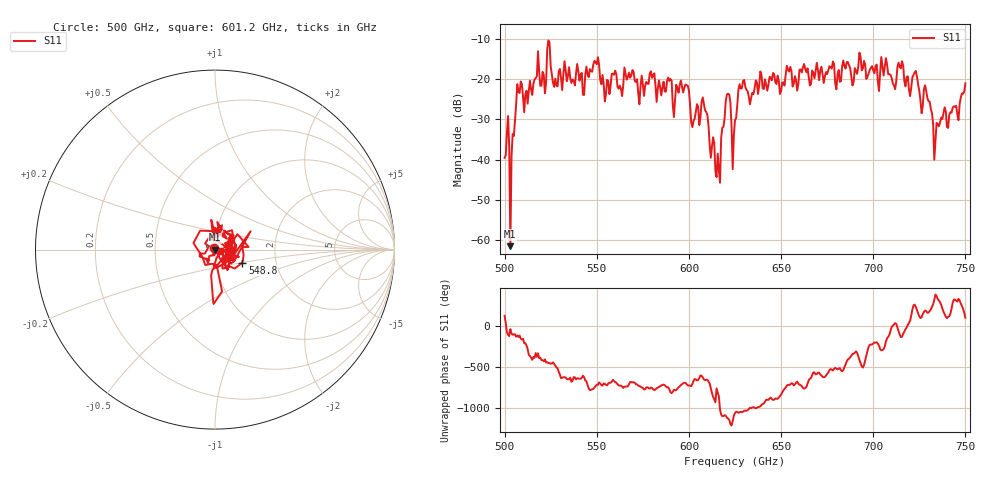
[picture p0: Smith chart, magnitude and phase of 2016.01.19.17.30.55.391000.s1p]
!Created with skrf (http://scikit-rf.org).
# GHz S RI R 50.0
!freq ReS11 ImS11
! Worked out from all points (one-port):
!   401 points, 500 GHz to 750 GHz, reference 50 ohm
!   lowest |S11| = -61.5 dB at 503.1 GHz (marker M1), VSWR 1.00, Z = 50.1 - j0.0555 ohm
!   |S11| at or under -10 dB: start of sweep to end of sweep
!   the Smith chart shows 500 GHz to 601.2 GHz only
!   S11 on the Smith chart (normalised r, x): 500 GHz: 0.99, +0.02; 548.8 GHz: 1.34, -0.20; 601.2 GHz: 1.06, -0.01
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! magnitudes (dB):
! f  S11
! 500 GHz  -39.5
! 503.1 GHz  -61.5
! 504.4 GHz  -33.6
! 505.6 GHz  -30.4
! 508.1 GHz  -23.4
! 521.2 GHz  -19.0
! 524.4 GHz  -10.8
! 527.5 GHz  -19.9
! 531.2 GHz  -22.7
! 548.8 GHz  -15.4
! 562.5 GHz  -21.6
! 568.8 GHz  -19.0
! 593.8 GHz  -22.2
! 598.8 GHz  -21.5
! 601.2 GHz  -30.8
! 608.1 GHz  -26.1
! 615.6 GHz  -38.5
! 621.2 GHz  -23.6
! 625 GHz  -30.2
! 628.8 GHz  -22.2
! 656.2 GHz  -21.8
! 687.5 GHz  -17.3
! 711.2 GHz  -21.6
! 715 GHz  -17.3
! 718.8 GHz  -19.3
! 728.8 GHz  -23.0
! 734.4 GHz  -30.9
! 750 GHz  -21.0
